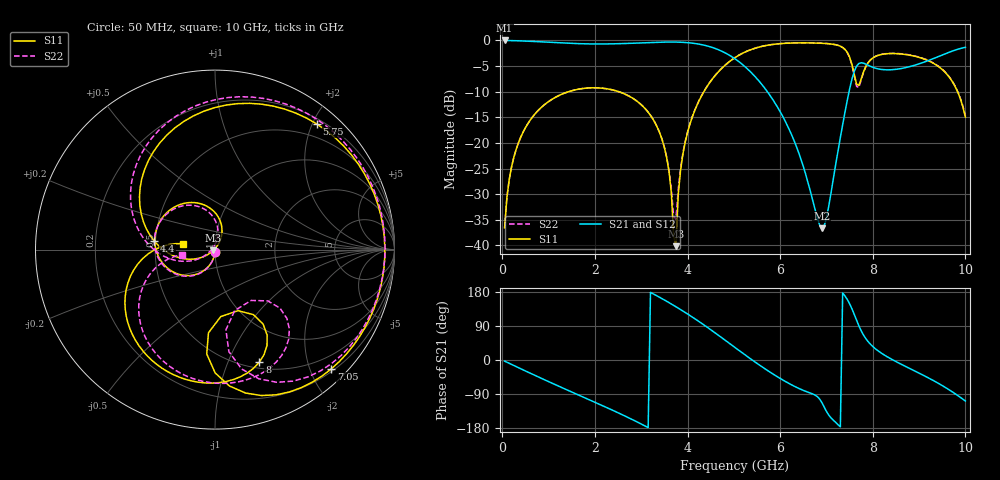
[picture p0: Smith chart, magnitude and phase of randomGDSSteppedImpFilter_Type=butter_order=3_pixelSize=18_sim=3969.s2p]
! freq	dB(S11)	phase(S11)	dB(S12)	phase(S12)
!  dB(S21)	phase(S21)	dB(S22)	phase(S22)
!S-par simulation data
#  GHz  S  DB  R 50
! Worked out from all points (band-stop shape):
!   200 points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, 50 MHz to 10 GHz, reference 50 ohm
!   highest |S21| = -0.01 dB at 50 MHz (marker M1); lowest = -36.6 dB at 6.9 GHz (marker M2)
!   |S21| within 3 dB of the highest: start of sweep to 4.926 GHz; 9.457 GHz to end of sweep
!   lowest |S11| = -40.1 dB at 3.75 GHz (marker M3), VSWR 1.02, Z = 49.1 - j0.443 ohm
!   |S11| at or under -10 dB: start of sweep to 1.431 GHz; 2.516 GHz to 4.353 GHz (1.837 GHz wide, 53.5 % of centre); 9.83 GHz to end of sweep
!   |S22| runs from -36.6 to -0.5 dB; largest |S21 - S12| = 0
!   S11 on the Smith chart (normalised r, x): 50 MHz: 1.00, -0.03; 4.4 GHz: 0.49, +0.05; 5.75 GHz: 0.28, +2.07; 7.05 GHz: 0.24, -2.35; 8 GHz: 0.57, -1.31; 10 GHz: 0.70, +0.05
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0.05  -36.56 -92.4  -0.01 -3.0  -0.01 -3.0  -36.56 -92.3
0.2  -24.66 -102.0  -0.03 -11.7  -0.03 -11.7  -24.66 -101.7
0.5  -17.02 -119.8  -0.13 -29.0  -0.13 -29.0  -17.02 -119.0
1.75  -9.36 169.9  -0.66 -97.9  -0.66 -97.9  -9.37 173.2
2.7  -10.69 116.1  -0.59 -150.8  -0.59 -150.8  -10.69 122.3
3.4  -18.06 72.0  -0.34 165.3  -0.34 165.3  -18.04 83.5
3.6  -25.57 59.8  -0.31 151.4  -0.31 151.4  -25.32 79.4
3.75  -40.13 -152.8  -0.32 140.5  -0.32 140.5  -34.88 175.7
3.8  -30.01 -144.1  -0.33 136.8  -0.33 136.8  -29.02 -156.5
3.9  -22.19 -148.4  -0.37 129.3  -0.37 129.3  -21.97 -149.4
4.4  -9.30 171.8  -1.02 88.7  -1.02 88.7  -9.27 179.5
5.05  -3.21 113.0  -3.75 30.8  -3.75 30.8  -3.20 124.0
5.75  -0.91 51.0  -10.33 -29.5  -10.33 -29.5  -0.90 64.1
6.7  -0.49 -20.5  -31.12 -89.4  -31.12 -89.4  -0.48 -6.7
6.9  -0.56 -34.7  -36.63 -112.2  -36.63 -112.2  -0.54 -21.0
7.05  -0.65 -45.8  -32.31 -145.4  -32.31 -145.4  -0.64 -32.2
7.4  -1.76 -78.0  -13.98 168.9  -13.98 168.9  -1.77 -65.1
7.6  -6.65 -94.5  -6.03 120.5  -6.03 120.5  -6.91 -82.3
8  -3.43 -68.5  -5.24 35.6  -5.24 35.6  -3.42 -54.1
8.35  -2.57 -91.2  -5.74 5.8  -5.74 5.8  -2.53 -77.3
9.3  -4.41 -146.1  -3.58 -53.6  -3.58 -53.6  -4.35 -131.7
10  -14.95 169.6  -1.35 -108.2  -1.35 -108.2  -14.72 -171.2
